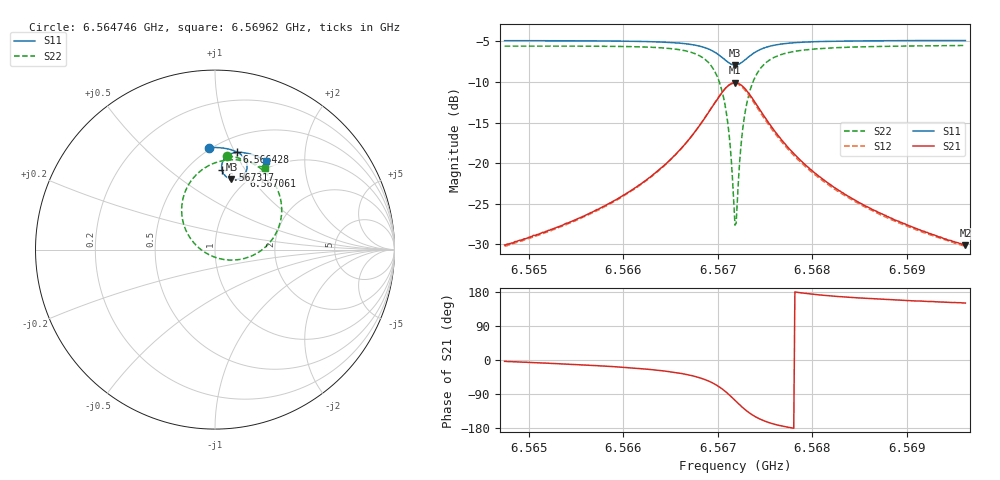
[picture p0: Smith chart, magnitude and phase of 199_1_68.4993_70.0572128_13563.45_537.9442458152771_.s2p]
#  HZ  S  RI  R  50.00
! Rohde & Schwarz Vector Network Analyzer
! Rohde-Schwarz,ZNB20-2Port,1311601062101988,3.16
! Created: UTC 3/20/2024, 5:12:40 PM
! freq[Hz]  re:S11  im:S11  re:S21  im:S21  re:S12  im:S12  re:S22  im:S22
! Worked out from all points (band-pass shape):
!   401 points, 6.564746 GHz to 6.56962 GHz, reference 50 ohm
!   highest |S21| = -10.08 dB at 6.567183 GHz (marker M1); lowest = -30.1 dB at 6.56962 GHz (marker M2)
!   |S21| within 3 dB of the highest: 6.566941 GHz to 6.567427 GHz (486.6 kHz wide, 0.00741 % of centre)
!   lowest |S11| = -7.9 dB at 6.567183 GHz (marker M3), VSWR 2.35, Z = 42.8 + j40 ohm
!   |S11| at or under -10 dB: nowhere
!   |S22| runs from -27.6 to -5.5 dB; largest |S21 - S12| = 0.016
!   S11 on the Smith chart (normalised r, x): 6.564746 GHz: 0.49, +0.82; 6.566428 GHz: 0.65, +1.02; 6.567061 GHz: 0.92, +0.94; 6.567317 GHz: 0.71, +0.79; 6.56962 GHz: 0.89, +1.30
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6.5647465e9  -0.0326 0.5682  0.0312 -0.00198  0.0307 -0.00245  0.0693 0.522
6.5655628e9  0.0359 0.5665  0.0453 -0.0105  0.0448 -0.011  0.1512 0.5043
6.5663792e9  0.1164 0.5466  0.0807 -0.0419  0.0795 -0.0427  0.2714 0.4382
6.5664279e9  0.122 0.5438  0.0843 -0.0463  0.0829 -0.0473  0.2811 0.429
6.5666838e9  0.1543 0.5204  0.107 -0.0861  0.1052 -0.0877  0.3402 0.3511
6.5668665e9  0.1756 0.484  0.1179 -0.1499  0.115 -0.153  0.3717 0.2281
6.5669762e9  0.1771 0.4467  0.1021 -0.2153  0.0961 -0.2196  0.3458 0.1034
6.5670615e9  0.1589 0.4117  0.0534 -0.2746  0.0429 -0.2779  0.255 -0.00665
6.5671224e9  0.1297 0.3933  -0.0104 -0.3034  -0.024 -0.3029  0.1367 -0.0551
6.5671711e9  0.0996 0.3901  -0.0729 -0.3042  -0.0872 -0.2987  0.0237 -0.05
6.5671833e9  0.0918 0.3916  -0.0885 -0.3005  -0.1025 -0.2938  -0.00389 -0.0413
6.5671955e9  0.0844 0.3937  -0.1038 -0.2951  -0.1172 -0.2871  -0.0303 -0.03
6.5672077e9  0.0771 0.3966  -0.1185 -0.2883  -0.1312 -0.2794  -0.0552 -0.0161
6.5672442e9  0.0584 0.4096  -0.1564 -0.2609  -0.1663 -0.2492  -0.118 0.0378
6.5672686e9  0.0491 0.4208  -0.1756 -0.2384  -0.1834 -0.2254  -0.1483 0.0804
6.5673173e9  0.0386 0.4454  -0.199 -0.1899  -0.2023 -0.1768  -0.1811 0.1684
6.5674026e9  0.0404 0.4835  -0.2025 -0.116  -0.2011 -0.1054  -0.1748 0.2978
6.5675245e9  0.0619 0.5169  -0.1751 -0.0515  -0.1716 -0.0449  -0.114 0.4068
6.5677072e9  0.0969 0.5369  -0.1318 -0.01  -0.1288 -0.00671  -0.0242 0.4732
6.5679997e9  0.1401 0.5423  -0.0892 0.00985  -0.0869 0.0112  0.0709 0.4991
6.568816e9  0.2208 0.5243  -0.0432 0.0163  -0.0423 0.0166  0.2035 0.4842
6.5696202e9  0.2822 0.496  -0.027 0.0154  -0.0266 0.0155  0.2797 0.4519
